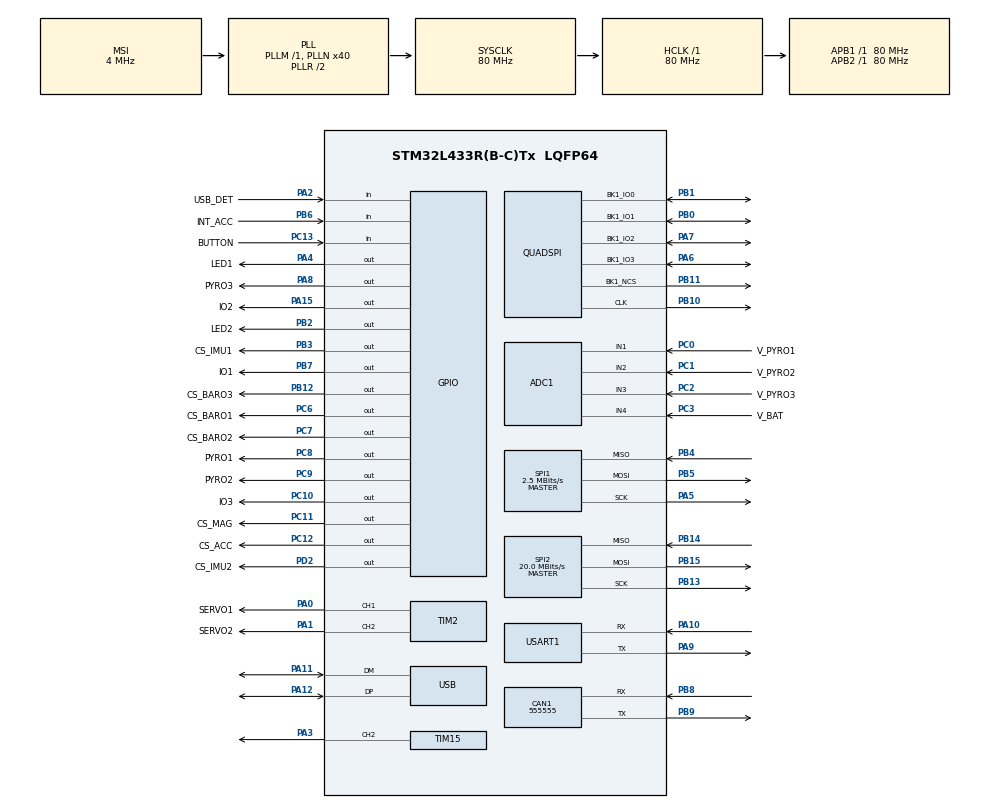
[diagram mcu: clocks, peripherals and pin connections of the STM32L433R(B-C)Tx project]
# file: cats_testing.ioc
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ADC1.Channel-0\#ChannelRegularConversion=ADC_CHANNEL_1
ADC1.NbrOfConversionFlag=1
ADC1.OffsetNumber-0\#ChannelRegularConversion=ADC_OFFSET_NONE
ADC1.Rank-0\#ChannelRegularConversion=1
ADC1.SamplingTime-0\#ChannelRegularConversion=ADC_SAMPLETIME_2CYCLES_5
ADC1.master=1
CAN1.BS1=CAN_BS1_4TQ
CAN1.BS2=CAN_BS2_4TQ
CAN1.CalculateBaudRate=555555
CAN1.CalculateTimeBit=1800.00
CAN1.CalculateTimeQuantum=200.0
FREERTOS.Tasks01=task_init_name,24,256,task_init,As weak,NULL,Static,task_init_buffer,task_init_control_block
FREERTOS.configENABLE_FPU=1
FREERTOS.configTOTAL_HEAP_SIZE=16384
Mcu.Family=STM32L4
Mcu.Name=STM32L433R(B-C)Tx
Mcu.Package=LQFP64
NVIC.PriorityGroup=NVIC_PRIORITYGROUP_4
NVIC.TIM1_UP_TIM16_IRQn=true\:0\:0\:false\:false\:true\:false\:false\:true
NVIC.TimeBase=TIM1_UP_TIM16_IRQn
NVIC.TimeBaseIP=TIM1
NVIC.USB_IRQn=true\:5\:0\:false\:false\:true\:true\:false\:true
PA0.GPIO_Label=SERVO1
PA0.Signal=S_TIM2_CH1
PA1.GPIO_Label=SERVO2
PA1.Signal=S_TIM2_CH2
PA10.Mode=Asynchronous
PA10.Signal=USART1_RX
PA11.Mode=Device
PA11.Signal=USB_DM
PA12.Mode=Device
PA12.Signal=USB_DP
PA13\ (JTMS-SWDIO).Mode=Serial_Wire
PA13\ (JTMS-SWDIO).Signal=SYS_JTMS-SWDIO
PA14\ (JTCK-SWCLK).Mode=Serial_Wire
PA14\ (JTCK-SWCLK).Signal=SYS_JTCK-SWCLK
PA15\ (JTDI).GPIO_Label=IO2
PA15\ (JTDI).Signal=GPIO_Output
PA2.GPIO_Label=USB_DET
PA2.Signal=GPIO_Input
PA3.Signal=S_TIM15_CH2
PA4.GPIO_Label=LED1
PA4.Signal=GPIO_Output
PA5.Mode=Full_Duplex_Master
PA5.Signal=SPI1_SCK
PA6.Mode=Single Bank 1
PA6.Signal=QUADSPI_BK1_IO3
PA7.Mode=Single Bank 1
PA7.Signal=QUADSPI_BK1_IO2
PA8.GPIO_Label=PYRO3
PA8.Signal=GPIO_Output
PA9.Mode=Asynchronous
PA9.Signal=USART1_TX
PB0.Mode=Single Bank 1
PB0.Signal=QUADSPI_BK1_IO1
PB1.Mode=Single Bank 1
PB1.Signal=QUADSPI_BK1_IO0
PB10.Mode=Single Bank 1
PB10.Signal=QUADSPI_CLK
PB11.Mode=Single Bank 1
PB11.Signal=QUADSPI_BK1_NCS
PB12.GPIO_Label=CS_BARO3
PB12.GPIO_Speed=GPIO_SPEED_FREQ_HIGH
PB12.PinState=GPIO_PIN_SET
PB12.Signal=GPIO_Output
PB13.Mode=Full_Duplex_Master
PB13.Signal=SPI2_SCK
PB14.Mode=Full_Duplex_Master
PB14.Signal=SPI2_MISO
PB15.Mode=Full_Duplex_Master
PB15.Signal=SPI2_MOSI
PB2.GPIO_Label=LED2
PB2.Signal=GPIO_Output
PB3\ (JTDO-TRACESWO).GPIO_Label=CS_IMU1
PB3\ (JTDO-TRACESWO).GPIO_Speed=GPIO_SPEED_FREQ_HIGH
PB3\ (JTDO-TRACESWO).PinState=GPIO_PIN_SET
PB3\ (JTDO-TRACESWO).Signal=GPIO_Output
PB4\ (NJTRST).Mode=Full_Duplex_Master
PB4\ (NJTRST).Signal=SPI1_MISO
PB5.Mode=Full_Duplex_Master
PB5.Signal=SPI1_MOSI
PB6.GPIO_Label=INT_ACC
PB6.Signal=GPIO_Input
PB7.GPIO_Label=IO1
PB7.Signal=GPIO_Output
PB8.Mode=CAN_Activate
PB8.Signal=CAN1_RX
PB9.Mode=CAN_Activate
PB9.Signal=CAN1_TX
PC0.GPIO_Label=V_PYRO1
PC0.Signal=ADCx_IN1
PC1.GPIO_Label=V_PYRO2
PC1.Signal=ADCx_IN2
PC10.GPIO_Label=IO3
PC10.Signal=GPIO_Output
PC11.GPIO_Label=CS_MAG
PC11.GPIO_Speed=GPIO_SPEED_FREQ_HIGH
PC11.PinState=GPIO_PIN_SET
PC11.Signal=GPIO_Output
PC12.GPIO_Label=CS_ACC
PC12.GPIO_Speed=GPIO_SPEED_FREQ_HIGH
PC12.PinState=GPIO_PIN_SET
PC12.Signal=GPIO_Output
PC13.GPIO_Label=BUTTON
PC13.Signal=GPIO_Input
PC14-OSC32_IN\ (PC14).Mode=LSE-External-Oscillator
PC14-OSC32_IN\ (PC14).Signal=RCC_OSC32_IN
PC15-OSC32_OUT\ (PC15).Mode=LSE-External-Oscillator
PC15-OSC32_OUT\ (PC15).Signal=RCC_OSC32_OUT
PC2.GPIO_Label=V_PYRO3
PC2.Signal=ADCx_IN3
PC3.GPIO_Label=V_BAT
PC3.Signal=ADCx_IN4
PC6.GPIO_Label=CS_BARO1
PC6.GPIO_Speed=GPIO_SPEED_FREQ_HIGH
PC6.PinState=GPIO_PIN_SET
PC6.Signal=GPIO_Output
PC7.GPIO_Label=CS_BARO2
PC7.GPIO_Speed=GPIO_SPEED_FREQ_HIGH
PC7.PinState=GPIO_PIN_SET
PC7.Signal=GPIO_Output
PC8.GPIO_Label=PYRO1
PC8.Signal=GPIO_Output
PC9.GPIO_Label=PYRO2
PC9.Signal=GPIO_Output
PD2.GPIO_Label=CS_IMU2
PD2.GPIO_Speed=GPIO_SPEED_FREQ_HIGH
PD2.PinState=GPIO_PIN_SET
PD2.Signal=GPIO_Output
PH0-OSC_IN\ (PH0).Mode=HSE-External-Oscillator
PH0-OSC_IN\ (PH0).Signal=RCC_OSC_IN
PH1-OSC_OUT\ (PH1).Mode=HSE-External-Oscillator
PH1-OSC_OUT\ (PH1).Signal=RCC_OSC_OUT
ProjectManager.HeapSize=0x200
ProjectManager.StackSize=0x400
ProjectManager.TargetToolchain=STM32CubeIDE
QUADSPI.FlashSize=24
RCC.ADCFreq_Value=48000000
RCC.AHBFreq_Value=80000000
RCC.APB1Freq_Value=80000000
RCC.APB1TimFreq_Value=80000000
RCC.APB2Freq_Value=80000000
RCC.APB2TimFreq_Value=80000000
RCC.CortexFreq_Value=80000000
RCC.HCLKFreq_Value=80000000
RCC.HSE_VALUE=8000000
RCC.HSI48_VALUE=48000000
RCC.HSI_VALUE=16000000
RCC.MSI_VALUE=4000000
RCC.PLLN=40
RCC.PLLSAI1N=24
RCC.SYSCLKFreq_VALUE=80000000
RCC.SYSCLKSource=RCC_SYSCLKSOURCE_PLLCLK
RCC.USBFreq_Value=48000000
RCC.VCOOutputFreq_Value=160000000
SH.ADCx_IN1.0=ADC1_IN1,IN1-Single-Ended
SH.ADCx_IN2.0=ADC1_IN2,IN2-Single-Ended
SH.ADCx_IN3.0=ADC1_IN3,IN3-Single-Ended
SH.ADCx_IN4.0=ADC1_IN4,IN4-Single-Ended
SH.S_TIM15_CH2.0=TIM15_CH2,PWM Generation2 CH2
SH.S_TIM2_CH1.0=TIM2_CH1,PWM Generation1 CH1
SH.S_TIM2_CH2.0=TIM2_CH2,PWM Generation2 CH2
SPI1.BaudRatePrescaler=SPI_BAUDRATEPRESCALER_32
SPI1.CalculateBaudRate=2.5 MBits/s
SPI1.DataSize=SPI_DATASIZE_8BIT
SPI1.Direction=SPI_DIRECTION_2LINES
SPI1.Mode=SPI_MODE_MASTER
SPI1.NSSPMode=SPI_NSS_PULSE_ENABLE
SPI1.VirtualType=VM_MASTER
SPI2.BaudRatePrescaler=SPI_BAUDRATEPRESCALER_4
SPI2.CalculateBaudRate=20.0 MBits/s
SPI2.DataSize=SPI_DATASIZE_8BIT
SPI2.Direction=SPI_DIRECTION_2LINES
SPI2.Mode=SPI_MODE_MASTER
SPI2.VirtualType=VM_MASTER
TIM15.Channel-PWM\ Generation2\ CH2=TIM_CHANNEL_2
TIM2.Channel-PWM\ Generation1\ CH1=TIM_CHANNEL_1
TIM2.Channel-PWM\ Generation2\ CH2=TIM_CHANNEL_2
USART1.VirtualMode-Asynchronous=VM_ASYNC
USB_DEVICE.CLASS_NAME_FS=CDC
USB_DEVICE.VirtualMode=Cdc
USB_DEVICE.VirtualModeFS=Cdc_FS
VP_FREERTOS_VS_CMSIS_V2.Mode=CMSIS_V2
VP_RTC_VS_RTC_Activate.Mode=RTC_Enabled
VP_SYS_VS_tim1.Mode=TIM1
VP_USB_DEVICE_VS_USB_DEVICE_CDC_FS.Mode=CDC_FS
board=custom

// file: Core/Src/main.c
/* USER CODE BEGIN Header */
/**
 ******************************************************************************
 * @file           : main.c
 * @brief          : Main program body
 ******************************************************************************
 * @attention
 *
 * <h2><center>&copy; Copyright (c) 2021 STMicroelectronics.
 * All rights reserved.</center></h2>
 *
 * This software component is licensed by ST under BSD 3-Clause license,
 * the "License"; You may not use this file except in compliance with the
 * License. You may obtain a copy of the License at:
 *                        opensource.org/licenses/BSD-3-Clause
 *
 ******************************************************************************
 */
/* USER CODE END Header */
#include "main.h"
#include "cmsis_os.h"
#include "usb_device.h"

/* USER CODE BEGIN Includes */
#include "util/types.h"
#include "util/log.h"
#include "util/recorder.h"
/* USER CODE END Includes */

typedef StaticTask_t osStaticThreadDef_t;

ADC_HandleTypeDef hadc1;

CAN_HandleTypeDef hcan1;

QSPI_HandleTypeDef hqspi;

RTC_HandleTypeDef hrtc;

SPI_HandleTypeDef hspi1;
SPI_HandleTypeDef hspi2;

TIM_HandleTypeDef htim2;
TIM_HandleTypeDef htim15;

UART_HandleTypeDef huart1;

/* Definitions for task_init_name */
osThreadId_t task_init_nameHandle;
uint32_t task_init_buffer[ 256 ];
osStaticThreadDef_t task_init_control_block;
const osThreadAttr_t task_init_name_attributes = {
  .name = "task_init_name",
  .stack_mem = &task_init_buffer[0],
  .stack_size = sizeof(task_init_buffer),
  .cb_mem = &task_init_control_block,
  .cb_size = sizeof(task_init_control_block),
  .priority = (osPriority_t) osPriorityNormal,
};

void SystemClock_Config(void);
static void MX_GPIO_Init(void);
static void MX_ADC1_Init(void);
static void MX_CAN1_Init(void);
static void MX_QUADSPI_Init(void);
static void MX_RTC_Init(void);
static void MX_SPI1_Init(void);
static void MX_SPI2_Init(void);
static void MX_TIM2_Init(void);
static void MX_TIM15_Init(void);
static void MX_USART1_UART_Init(void);
void task_init(void *argument);

/* USER CODE BEGIN 0 */
float Q_rsqrt(float number) {
    const float x2 = number * 0.5F;
    const float threehalfs = 1.5F;

    union {
        float f;
        uint32_t i;
    } conv = {.f = number};
    conv.i = 0x5f3759df - (conv.i >> 1);
    conv.f *= threehalfs - (x2 * conv.f * conv.f);
    return conv.f;
}
/* USER CODE END 0 */

int main(void)
{

  /* MCU Configuration--------------------------------------------------------*/

  /* Reset of all peripherals, Initializes the Flash interface and the Systick. */
  HAL_Init();

  /* Configure the system clock */
  SystemClock_Config();

  /* Initialize all configured peripherals */
  MX_GPIO_Init();
  MX_ADC1_Init();
  MX_CAN1_Init();
  MX_QUADSPI_Init();
  MX_RTC_Init();
  MX_SPI1_Init();
  MX_SPI2_Init();
  MX_TIM2_Init();
  MX_TIM15_Init();
  MX_USART1_UART_Init();
  /* USER CODE BEGIN 2 */
    MX_USB_DEVICE_Init();
#if (configUSE_TRACE_FACILITY == 1)
    vTraceEnable(TRC_INIT);
#endif

  /* USER CODE END 2 */

  /* Init scheduler */
  osKernelInitialize();

  /* USER CODE BEGIN RTOS_MUTEX */
    /* add mutexes, ... */
#ifdef CATS_DEBUG
    const osMutexAttr_t print_mutex_attr = {
        "print_mutex",       // human readable mutex name
        osMutexPrioInherit,  // attr_bits
        NULL,                // memory for control block
        0U                   // size for control block
    };
    print_mutex = osMutexNew(&print_mutex_attr);
#endif
  /* USER CODE END RTOS_MUTEX */

  /* Create the thread(s) */
  /* creation of task_init_name */
  task_init_nameHandle = osThreadNew(task_init, NULL, &task_init_name_attributes);

  /* Start scheduler */
  osKernelStart();

  /* We should never get here as control is now taken by the scheduler */
  /* Infinite loop */
    while (1) {

    }
}

void SystemClock_Config(void)
{
  RCC_OscInitTypeDef RCC_OscInitStruct = {0};
  RCC_ClkInitTypeDef RCC_ClkInitStruct = {0};
  RCC_PeriphCLKInitTypeDef PeriphClkInit = {0};

  /** Configure LSE Drive Capability
  */
  HAL_PWR_EnableBkUpAccess();
  __HAL_RCC_LSEDRIVE_CONFIG(RCC_LSEDRIVE_LOW);
  /** Initializes the RCC Oscillators according to the specified parameters
  * in the RCC_OscInitTypeDef structure.
  */
  RCC_OscInitStruct.OscillatorType = RCC_OSCILLATORTYPE_LSI|RCC_OSCILLATORTYPE_LSE
                              |RCC_OSCILLATORTYPE_MSI;
  RCC_OscInitStruct.LSEState = RCC_LSE_ON;
  RCC_OscInitStruct.LSIState = RCC_LSI_ON;
  RCC_OscInitStruct.MSIState = RCC_MSI_ON;
  RCC_OscInitStruct.MSICalibrationValue = 0;
  RCC_OscInitStruct.MSIClockRange = RCC_MSIRANGE_6;
  RCC_OscInitStruct.PLL.PLLState = RCC_PLL_ON;
  RCC_OscInitStruct.PLL.PLLSource = RCC_PLLSOURCE_MSI;
  RCC_OscInitStruct.PLL.PLLM = 1;
  RCC_OscInitStruct.PLL.PLLN = 40;
  RCC_OscInitStruct.PLL.PLLP = RCC_PLLP_DIV7;
  RCC_OscInitStruct.PLL.PLLQ = RCC_PLLQ_DIV2;
  RCC_OscInitStruct.PLL.PLLR = RCC_PLLR_DIV2;
  if (HAL_RCC_OscConfig(&RCC_OscInitStruct) != HAL_OK)
  {
    Error_Handler();
  }
  /** Initializes the CPU, AHB and APB buses clocks
  */
  RCC_ClkInitStruct.ClockType = RCC_CLOCKTYPE_HCLK|RCC_CLOCKTYPE_SYSCLK
                              |RCC_CLOCKTYPE_PCLK1|RCC_CLOCKTYPE_PCLK2;
  RCC_ClkInitStruct.SYSCLKSource = RCC_SYSCLKSOURCE_PLLCLK;
  RCC_ClkInitStruct.AHBCLKDivider = RCC_SYSCLK_DIV1;
  RCC_ClkInitStruct.APB1CLKDivider = RCC_HCLK_DIV1;
  RCC_ClkInitStruct.APB2CLKDivider = RCC_HCLK_DIV1;

  if (HAL_RCC_ClockConfig(&RCC_ClkInitStruct, FLASH_LATENCY_4) != HAL_OK)
  {
    Error_Handler();
  }
  PeriphClkInit.PeriphClockSelection = RCC_PERIPHCLK_RTC|RCC_PERIPHCLK_USART1
                              |RCC_PERIPHCLK_USB|RCC_PERIPHCLK_ADC;
  PeriphClkInit.Usart1ClockSelection = RCC_USART1CLKSOURCE_PCLK2;
  PeriphClkInit.AdcClockSelection = RCC_ADCCLKSOURCE_PLLSAI1;
  PeriphClkInit.RTCClockSelection = RCC_RTCCLKSOURCE_LSI;
  PeriphClkInit.UsbClockSelection = RCC_USBCLKSOURCE_PLLSAI1;
  PeriphClkInit.PLLSAI1.PLLSAI1Source = RCC_PLLSOURCE_MSI;
  PeriphClkInit.PLLSAI1.PLLSAI1M = 1;
  PeriphClkInit.PLLSAI1.PLLSAI1N = 24;
  PeriphClkInit.PLLSAI1.PLLSAI1P = RCC_PLLP_DIV7;
  PeriphClkInit.PLLSAI1.PLLSAI1Q = RCC_PLLQ_DIV2;
  PeriphClkInit.PLLSAI1.PLLSAI1R = RCC_PLLR_DIV2;
  PeriphClkInit.PLLSAI1.PLLSAI1ClockOut = RCC_PLLSAI1_48M2CLK|RCC_PLLSAI1_ADC1CLK;
  if (HAL_RCCEx_PeriphCLKConfig(&PeriphClkInit) != HAL_OK)
  {
    Error_Handler();
  }
  /** Configure the main internal regulator output voltage
  */
  if (HAL_PWREx_ControlVoltageScaling(PWR_REGULATOR_VOLTAGE_SCALE1) != HAL_OK)
  {
    Error_Handler();
  }
  /** Enable MSI Auto calibration
  */
  HAL_RCCEx_EnableMSIPLLMode();
}

static void MX_ADC1_Init(void)
{

  ADC_ChannelConfTypeDef sConfig = {0};

  /** Common config
  */
  hadc1.Instance = ADC1;
  hadc1.Init.ClockPrescaler = ADC_CLOCK_ASYNC_DIV1;
  hadc1.Init.Resolution = ADC_RESOLUTION_12B;
  hadc1.Init.DataAlign = ADC_DATAALIGN_RIGHT;
  hadc1.Init.ScanConvMode = ADC_SCAN_DISABLE;
  hadc1.Init.EOCSelection = ADC_EOC_SINGLE_CONV;
  hadc1.Init.LowPowerAutoWait = DISABLE;
  hadc1.Init.ContinuousConvMode = DISABLE;
  hadc1.Init.NbrOfConversion = 1;
  hadc1.Init.DiscontinuousConvMode = DISABLE;
  hadc1.Init.ExternalTrigConv = ADC_SOFTWARE_START;
  hadc1.Init.ExternalTrigConvEdge = ADC_EXTERNALTRIGCONVEDGE_NONE;
  hadc1.Init.DMAContinuousRequests = DISABLE;
  hadc1.Init.Overrun = ADC_OVR_DATA_PRESERVED;
  hadc1.Init.OversamplingMode = DISABLE;
  if (HAL_ADC_Init(&hadc1) != HAL_OK)
  {
    Error_Handler();
  }
  /** Configure Regular Channel
  */
  sConfig.Channel = ADC_CHANNEL_1;
  sConfig.Rank = ADC_REGULAR_RANK_1;
  sConfig.SamplingTime = ADC_SAMPLETIME_2CYCLES_5;
  sConfig.SingleDiff = ADC_SINGLE_ENDED;
  sConfig.OffsetNumber = ADC_OFFSET_NONE;
  sConfig.Offset = 0;
  if (HAL_ADC_ConfigChannel(&hadc1, &sConfig) != HAL_OK)
  {
    Error_Handler();
  }

}

static void MX_CAN1_Init(void)
{

  hcan1.Instance = CAN1;
  hcan1.Init.Prescaler = 16;
  hcan1.Init.Mode = CAN_MODE_NORMAL;
  hcan1.Init.SyncJumpWidth = CAN_SJW_1TQ;
  hcan1.Init.TimeSeg1 = CAN_BS1_4TQ;
  hcan1.Init.TimeSeg2 = CAN_BS2_4TQ;
  hcan1.Init.TimeTriggeredMode = DISABLE;
  hcan1.Init.AutoBusOff = DISABLE;
  hcan1.Init.AutoWakeUp = DISABLE;
  hcan1.Init.AutoRetransmission = DISABLE;
  hcan1.Init.ReceiveFifoLocked = DISABLE;
  hcan1.Init.TransmitFifoPriority = DISABLE;
  if (HAL_CAN_Init(&hcan1) != HAL_OK)
  {
    Error_Handler();
  }

}

static void MX_QUADSPI_Init(void)
{

  /* QUADSPI parameter configuration*/
  hqspi.Instance = QUADSPI;
  hqspi.Init.ClockPrescaler = 255;
  hqspi.Init.FifoThreshold = 1;
  hqspi.Init.SampleShifting = QSPI_SAMPLE_SHIFTING_NONE;
  hqspi.Init.FlashSize = 24;
  hqspi.Init.ChipSelectHighTime = QSPI_CS_HIGH_TIME_1_CYCLE;
  hqspi.Init.ClockMode = QSPI_CLOCK_MODE_0;
  hqspi.Init.FlashID = QSPI_FLASH_ID_1;
  hqspi.Init.DualFlash = QSPI_DUALFLASH_DISABLE;
  if (HAL_QSPI_Init(&hqspi) != HAL_OK)
  {
    Error_Handler();
  }

}

static void MX_RTC_Init(void)
{

  /** Initialize RTC Only
  */
  hrtc.Instance = RTC;
  hrtc.Init.HourFormat = RTC_HOURFORMAT_24;
  hrtc.Init.AsynchPrediv = 127;
  hrtc.Init.SynchPrediv = 255;
  hrtc.Init.OutPut = RTC_OUTPUT_DISABLE;
  hrtc.Init.OutPutRemap = RTC_OUTPUT_REMAP_NONE;
  hrtc.Init.OutPutPolarity = RTC_OUTPUT_POLARITY_HIGH;
  hrtc.Init.OutPutType = RTC_OUTPUT_TYPE_OPENDRAIN;
  if (HAL_RTC_Init(&hrtc) != HAL_OK)
  {
    Error_Handler();
  }

}

static void MX_SPI1_Init(void)
{

  /* SPI1 parameter configuration*/
  hspi1.Instance = SPI1;
  hspi1.Init.Mode = SPI_MODE_MASTER;
  hspi1.Init.Direction = SPI_DIRECTION_2LINES;
  hspi1.Init.DataSize = SPI_DATASIZE_8BIT;
  hspi1.Init.CLKPolarity = SPI_POLARITY_LOW;
  hspi1.Init.CLKPhase = SPI_PHASE_1EDGE;
  hspi1.Init.NSS = SPI_NSS_SOFT;
  hspi1.Init.BaudRatePrescaler = SPI_BAUDRATEPRESCALER_32;
  hspi1.Init.FirstBit = SPI_FIRSTBIT_MSB;
  hspi1.Init.TIMode = SPI_TIMODE_DISABLE;
  hspi1.Init.CRCCalculation = SPI_CRCCALCULATION_DISABLE;
  hspi1.Init.CRCPolynomial = 7;
  hspi1.Init.CRCLength = SPI_CRC_LENGTH_DATASIZE;
  hspi1.Init.NSSPMode = SPI_NSS_PULSE_ENABLE;
  if (HAL_SPI_Init(&hspi1) != HAL_OK)
  {
    Error_Handler();
  }

}

static void MX_SPI2_Init(void)
{

  /* SPI2 parameter configuration*/
  hspi2.Instance = SPI2;
  hspi2.Init.Mode = SPI_MODE_MASTER;
  hspi2.Init.Direction = SPI_DIRECTION_2LINES;
  hspi2.Init.DataSize = SPI_DATASIZE_8BIT;
  hspi2.Init.CLKPolarity = SPI_POLARITY_LOW;
  hspi2.Init.CLKPhase = SPI_PHASE_1EDGE;
  hspi2.Init.NSS = SPI_NSS_SOFT;
  hspi2.Init.BaudRatePrescaler = SPI_BAUDRATEPRESCALER_4;
  hspi2.Init.FirstBit = SPI_FIRSTBIT_MSB;
  hspi2.Init.TIMode = SPI_TIMODE_DISABLE;
  hspi2.Init.CRCCalculation = SPI_CRCCALCULATION_DISABLE;
  hspi2.Init.CRCPolynomial = 7;
  hspi2.Init.CRCLength = SPI_CRC_LENGTH_DATASIZE;
  hspi2.Init.NSSPMode = SPI_NSS_PULSE_ENABLE;
  if (HAL_SPI_Init(&hspi2) != HAL_OK)
  {
    Error_Handler();
  }

}

static void MX_TIM2_Init(void)
{

  TIM_MasterConfigTypeDef sMasterConfig = {0};
  TIM_OC_InitTypeDef sConfigOC = {0};

  htim2.Instance = TIM2;
  htim2.Init.Prescaler = 0;
  htim2.Init.CounterMode = TIM_COUNTERMODE_UP;
  htim2.Init.Period = 4294967295;
  htim2.Init.ClockDivision = TIM_CLOCKDIVISION_DIV1;
  htim2.Init.AutoReloadPreload = TIM_AUTORELOAD_PRELOAD_DISABLE;
  if (HAL_TIM_PWM_Init(&htim2) != HAL_OK)
  {
    Error_Handler();
  }
  sMasterConfig.MasterOutputTrigger = TIM_TRGO_RESET;
  sMasterConfig.MasterSlaveMode = TIM_MASTERSLAVEMODE_DISABLE;
  if (HAL_TIMEx_MasterConfigSynchronization(&htim2, &sMasterConfig) != HAL_OK)
  {
    Error_Handler();
  }
  sConfigOC.OCMode = TIM_OCMODE_PWM1;
  sConfigOC.Pulse = 0;
  sConfigOC.OCPolarity = TIM_OCPOLARITY_HIGH;
  sConfigOC.OCFastMode = TIM_OCFAST_DISABLE;
  if (HAL_TIM_PWM_ConfigChannel(&htim2, &sConfigOC, TIM_CHANNEL_1) != HAL_OK)
  {
    Error_Handler();
  }
  if (HAL_TIM_PWM_ConfigChannel(&htim2, &sConfigOC, TIM_CHANNEL_2) != HAL_OK)
  {
    Error_Handler();
  }
  HAL_TIM_MspPostInit(&htim2);

}

static void MX_TIM15_Init(void)
{

  TIM_MasterConfigTypeDef sMasterConfig = {0};
  TIM_OC_InitTypeDef sConfigOC = {0};
  TIM_BreakDeadTimeConfigTypeDef sBreakDeadTimeConfig = {0};

  htim15.Instance = TIM15;
  htim15.Init.Prescaler = 0;
  htim15.Init.CounterMode = TIM_COUNTERMODE_UP;
  htim15.Init.Period = 65535;
  htim15.Init.ClockDivision = TIM_CLOCKDIVISION_DIV1;
  htim15.Init.RepetitionCounter = 0;
  htim15.Init.AutoReloadPreload = TIM_AUTORELOAD_PRELOAD_DISABLE;
  if (HAL_TIM_PWM_Init(&htim15) != HAL_OK)
  {
    Error_Handler();
  }
  sMasterConfig.MasterOutputTrigger = TIM_TRGO_RESET;
  sMasterConfig.MasterSlaveMode = TIM_MASTERSLAVEMODE_DISABLE;
  if (HAL_TIMEx_MasterConfigSynchronization(&htim15, &sMasterConfig) != HAL_OK)
  {
    Error_Handler();
  }
  sConfigOC.OCMode = TIM_OCMODE_PWM1;
  sConfigOC.Pulse = 0;
  sConfigOC.OCPolarity = TIM_OCPOLARITY_HIGH;
  sConfigOC.OCNPolarity = TIM_OCNPOLARITY_HIGH;
  sConfigOC.OCFastMode = TIM_OCFAST_DISABLE;
  sConfigOC.OCIdleState = TIM_OCIDLESTATE_RESET;
  sConfigOC.OCNIdleState = TIM_OCNIDLESTATE_RESET;
  if (HAL_TIM_PWM_ConfigChannel(&htim15, &sConfigOC, TIM_CHANNEL_2) != HAL_OK)
  {
    Error_Handler();
  }
  sBreakDeadTimeConfig.OffStateRunMode = TIM_OSSR_DISABLE;
  sBreakDeadTimeConfig.OffStateIDLEMode = TIM_OSSI_DISABLE;
  sBreakDeadTimeConfig.LockLevel = TIM_LOCKLEVEL_OFF;
  sBreakDeadTimeConfig.DeadTime = 0;
  sBreakDeadTimeConfig.BreakState = TIM_BREAK_DISABLE;
  sBreakDeadTimeConfig.BreakPolarity = TIM_BREAKPOLARITY_HIGH;
  sBreakDeadTimeConfig.AutomaticOutput = TIM_AUTOMATICOUTPUT_DISABLE;
  if (HAL_TIMEx_ConfigBreakDeadTime(&htim15, &sBreakDeadTimeConfig) != HAL_OK)
  {
    Error_Handler();
  }
  HAL_TIM_MspPostInit(&htim15);

}

static void MX_USART1_UART_Init(void)
{

  huart1.Instance = USART1;
  huart1.Init.BaudRate = 115200;
  huart1.Init.WordLength = UART_WORDLENGTH_8B;
  huart1.Init.StopBits = UART_STOPBITS_1;
  huart1.Init.Parity = UART_PARITY_NONE;
  huart1.Init.Mode = UART_MODE_TX_RX;
  huart1.Init.HwFlowCtl = UART_HWCONTROL_NONE;
  huart1.Init.OverSampling = UART_OVERSAMPLING_16;
  huart1.Init.OneBitSampling = UART_ONE_BIT_SAMPLE_DISABLE;
  huart1.AdvancedInit.AdvFeatureInit = UART_ADVFEATURE_NO_INIT;
  if (HAL_UART_Init(&huart1) != HAL_OK)
  {
    Error_Handler();
  }

}

static void MX_GPIO_Init(void)
{
  GPIO_InitTypeDef GPIO_InitStruct = {0};

  /* GPIO Ports Clock Enable */
  __HAL_RCC_GPIOC_CLK_ENABLE();
  __HAL_RCC_GPIOH_CLK_ENABLE();
  __HAL_RCC_GPIOA_CLK_ENABLE();
  __HAL_RCC_GPIOB_CLK_ENABLE();
  __HAL_RCC_GPIOD_CLK_ENABLE();

  /*Configure GPIO pin Output Level */
  HAL_GPIO_WritePin(GPIOA, LED1_Pin|PYRO3_Pin|IO2_Pin, GPIO_PIN_RESET);

  /*Configure GPIO pin Output Level */
  HAL_GPIO_WritePin(GPIOB, LED2_Pin|IO1_Pin, GPIO_PIN_RESET);

  /*Configure GPIO pin Output Level */
  HAL_GPIO_WritePin(GPIOB, CS_BARO3_Pin|CS_IMU1_Pin, GPIO_PIN_SET);

  /*Configure GPIO pin Output Level */
  HAL_GPIO_WritePin(GPIOC, CS_BARO1_Pin|CS_BARO2_Pin|CS_MAG_Pin|CS_ACC_Pin, GPIO_PIN_SET);

  /*Configure GPIO pin Output Level */
  HAL_GPIO_WritePin(GPIOC, PYRO1_Pin|PYRO2_Pin|IO3_Pin, GPIO_PIN_RESET);

  /*Configure GPIO pin Output Level */
  HAL_GPIO_WritePin(CS_IMU2_GPIO_Port, CS_IMU2_Pin, GPIO_PIN_SET);

  /*Configure GPIO pin : BUTTON_Pin */
  GPIO_InitStruct.Pin = BUTTON_Pin;
  GPIO_InitStruct.Mode = GPIO_MODE_INPUT;
  GPIO_InitStruct.Pull = GPIO_NOPULL;
  HAL_GPIO_Init(BUTTON_GPIO_Port, &GPIO_InitStruct);

  /*Configure GPIO pin : USB_DET_Pin */
  GPIO_InitStruct.Pin = USB_DET_Pin;
  GPIO_InitStruct.Mode = GPIO_MODE_INPUT;
  GPIO_InitStruct.Pull = GPIO_NOPULL;
  HAL_GPIO_Init(USB_DET_GPIO_Port, &GPIO_InitStruct);

  /*Configure GPIO pins : LED1_Pin PYRO3_Pin IO2_Pin */
  GPIO_InitStruct.Pin = LED1_Pin|PYRO3_Pin|IO2_Pin;
  GPIO_InitStruct.Mode = GPIO_MODE_OUTPUT_PP;
  GPIO_InitStruct.Pull = GPIO_NOPULL;
  GPIO_InitStruct.Speed = GPIO_SPEED_FREQ_LOW;
  HAL_GPIO_Init(GPIOA, &GPIO_InitStruct);

  /*Configure GPIO pins : LED2_Pin IO1_Pin */
  GPIO_InitStruct.Pin = LED2_Pin|IO1_Pin;
  GPIO_InitStruct.Mode = GPIO_MODE_OUTPUT_PP;
  GPIO_InitStruct.Pull = GPIO_NOPULL;
  GPIO_InitStruct.Speed = GPIO_SPEED_FREQ_LOW;
  HAL_GPIO_Init(GPIOB, &GPIO_InitStruct);

  /*Configure GPIO pins : CS_BARO3_Pin CS_IMU1_Pin */
  GPIO_InitStruct.Pin = CS_BARO3_Pin|CS_IMU1_Pin;
  GPIO_InitStruct.Mode = GPIO_MODE_OUTPUT_PP;
  GPIO_InitStruct.Pull = GPIO_NOPULL;
  GPIO_InitStruct.Speed = GPIO_SPEED_FREQ_HIGH;
  HAL_GPIO_Init(GPIOB, &GPIO_InitStruct);

  /*Configure GPIO pins : CS_BARO1_Pin CS_BARO2_Pin CS_MAG_Pin CS_ACC_Pin */
  GPIO_InitStruct.Pin = CS_BARO1_Pin|CS_BARO2_Pin|CS_MAG_Pin|CS_ACC_Pin;
  GPIO_InitStruct.Mode = GPIO_MODE_OUTPUT_PP;
  GPIO_InitStruct.Pull = GPIO_NOPULL;
  GPIO_InitStruct.Speed = GPIO_SPEED_FREQ_HIGH;
  HAL_GPIO_Init(GPIOC, &GPIO_InitStruct);

  /*Configure GPIO pins : PYRO1_Pin PYRO2_Pin IO3_Pin */
  GPIO_InitStruct.Pin = PYRO1_Pin|PYRO2_Pin|IO3_Pin;
  GPIO_InitStruct.Mode = GPIO_MODE_OUTPUT_PP;
  GPIO_InitStruct.Pull = GPIO_NOPULL;
  GPIO_InitStruct.Speed = GPIO_SPEED_FREQ_LOW;
  HAL_GPIO_Init(GPIOC, &GPIO_InitStruct);

  /*Configure GPIO pin : CS_IMU2_Pin */
  GPIO_InitStruct.Pin = CS_IMU2_Pin;
  GPIO_InitStruct.Mode = GPIO_MODE_OUTPUT_PP;
  GPIO_InitStruct.Pull = GPIO_NOPULL;
  GPIO_InitStruct.Speed = GPIO_SPEED_FREQ_HIGH;
  HAL_GPIO_Init(CS_IMU2_GPIO_Port, &GPIO_InitStruct);

  /*Configure GPIO pin : INT_ACC_Pin */
  GPIO_InitStruct.Pin = INT_ACC_Pin;
  GPIO_InitStruct.Mode = GPIO_MODE_INPUT;
  GPIO_InitStruct.Pull = GPIO_NOPULL;
  HAL_GPIO_Init(INT_ACC_GPIO_Port, &GPIO_InitStruct);

}

__weak void task_init(void *argument)
{
  /* init code for USB_DEVICE */
  MX_USB_DEVICE_Init();
  /* USER CODE BEGIN 5 */
    for (;;) {
        osDelay(100);
    }
  /* USER CODE END 5 */
}

 /**
  * @brief  Period elapsed callback in non blocking mode
  * @note   This function is called  when TIM1 interrupt took place, inside
  * HAL_TIM_IRQHandler(). It makes a direct call to HAL_IncTick() to increment
  * a global variable "uwTick" used as application time base.
  * @param  htim : TIM handle
  * @retval None
  */
void HAL_TIM_PeriodElapsedCallback(TIM_HandleTypeDef *htim)
{
  if (htim->Instance == TIM1) {
    HAL_IncTick();
  }
}

void Error_Handler(void)
{
    __disable_irq();
    while (1) {
    }
}

/************************ (C) COPYRIGHT STMicroelectronics *****END OF FILE****/
